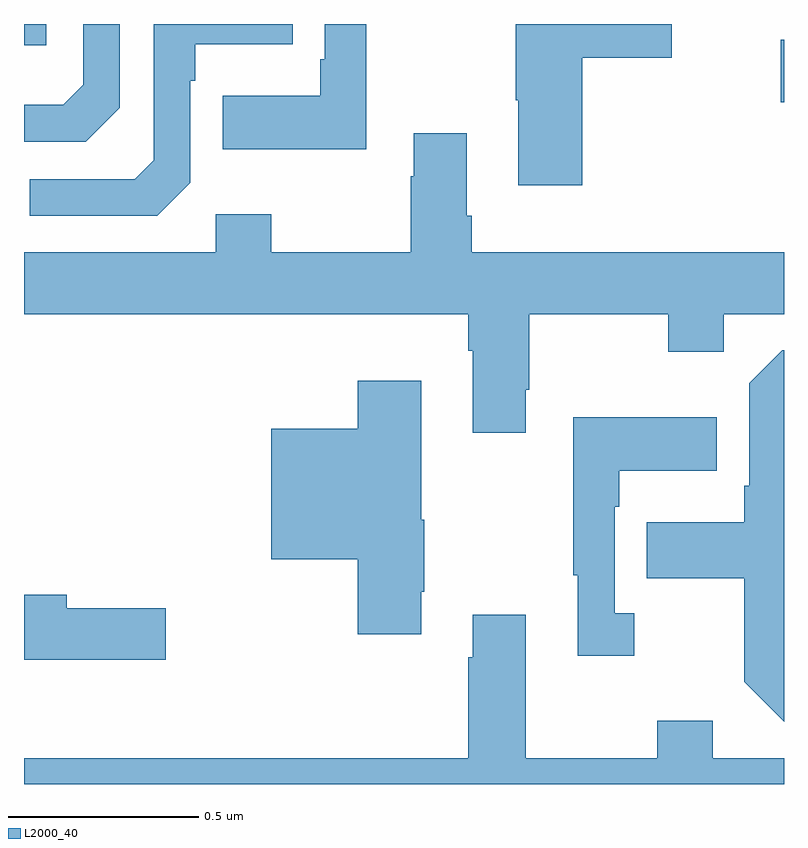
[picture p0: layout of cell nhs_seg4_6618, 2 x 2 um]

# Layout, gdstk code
import gdstk
lib = gdstk.Library(unit=1e-6, precision=1e-09)
def R(c, l, rs):  # rectangles x0, y0, x1, y1
    for r in rs: c.add(gdstk.rectangle(r[:2], r[2:], *l))
def P(c, l, *ps):  # polygons
    for p in ps: c.add(gdstk.Polygon(p, *l))
L2000_40 = (2000, 40)

nhs_seg4_6618 = lib.new_cell('nhs_seg4_6618')
R(nhs_seg4_6618, L2000_40, [(193.992,814.694,194,814.858), (192,814.844,192.058,814.9)])
P(nhs_seg4_6618, L2000_40, [(192.438,814.482),(192.438,814.751),(192.451,814.751),(192.451,814.847),(192.707,814.847),(192.707,814.9),(192.342,814.9),(192.342,814.542),(192.291,814.491),(192.015,814.491),(192.015,814.395),(192.351,814.395)],
  [(192.252,814.68),(192.252,814.9),(192.156,814.9),(192.156,814.74),(192.103,814.687),(192,814.687),(192,814.59),(192.162,814.59)],
  [(193.469,814.811),(193.705,814.811),(193.705,814.9),(193.294,814.9),(193.294,814.699),(193.301,814.699),(193.301,814.476),(193.469,814.476)],
  [(192.901,814.9),(192.792,814.9),(192.792,814.807),(192.78,814.807),(192.78,814.711),(192.523,814.711),(192.523,814.571),(192.901,814.571)],
  [(193.321,813.937),(193.329,813.937),(193.329,814.136),(193.696,814.136),(193.696,814.037),(193.842,814.037),(193.842,814.136),(194,814.136),(194,814.3),(193.178,814.3),(193.178,814.396),(193.165,814.396),(193.165,814.612),(193.025,814.612),(193.025,814.499),(193.018,814.499),(193.018,814.3),(192.651,814.3),(192.651,814.399),(192.504,814.399),(192.504,814.3),(192,814.3),(192,814.136),(193.169,814.136),(193.169,814.04),(193.181,814.04),(193.181,813.825),(193.321,813.825)],
  [(194,814.041),(193.995,814.041),(193.908,813.954),(193.908,813.685),(193.896,813.685),(193.896,813.589),(193.639,813.589),(193.639,813.442),(193.896,813.442),(193.896,813.169),(194,813.064)],
  [(193.045,813.406),(193.053,813.406),(193.053,813.595),(193.045,813.595),(193.045,813.961),(192.878,813.961),(192.878,813.835),(192.65,813.835),(192.65,813.491),(192.878,813.491),(192.878,813.294),(193.045,813.294)],
  [(193.606,813.35),(193.554,813.35),(193.554,813.629),(193.567,813.629),(193.567,813.725),(193.823,813.725),(193.823,813.865),(193.446,813.865),(193.446,813.449),(193.457,813.449),(193.457,813.237),(193.606,813.237)],
  [(192.373,813.362),(192.112,813.362),(192.112,813.398),(192,813.398),(192,813.227),(192.373,813.227)],
  [(194,812.968),(193.813,812.968),(193.813,813.067),(193.666,813.067),(193.666,812.968),(193.321,812.968),(193.321,813.346),(193.181,813.346),(193.181,813.233),(193.169,813.233),(193.169,812.968),(192,812.968),(192,812.9),(194,812.9)])

lib.write_gds('nhs_seg4_6618.gds')
